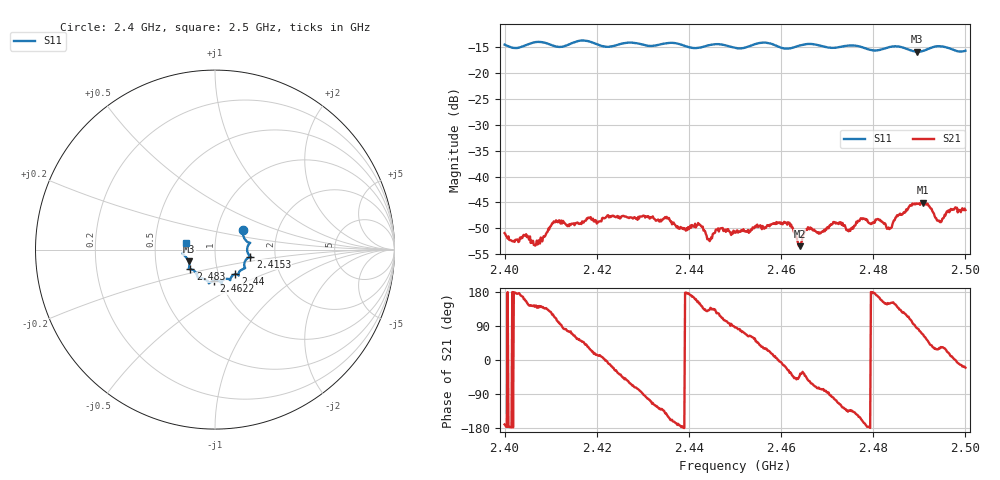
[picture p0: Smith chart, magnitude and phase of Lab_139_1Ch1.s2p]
# Hz S RI R 50
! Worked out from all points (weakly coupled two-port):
!   601 points, 2.4 GHz to 2.5 GHz, reference 50 ohm
!   highest |S21| = -45.03 dB at 2.4908 GHz (marker M1); lowest = -53.5 dB at 2.464 GHz (marker M2)
!   lowest |S11| = -15.9 dB at 2.4895 GHz (marker M3), VSWR 1.38, Z = 37 - j5.01 ohm
!   |S11| at or under -10 dB: start of sweep to end of sweep
!   S12 and S22 are empty: the file has one direction only
!   S11 on the Smith chart (normalised r, x): 2.4 GHz: 1.33, +0.29; 2.4153 GHz: 1.48, -0.12; 2.44 GHz: 1.20, -0.34; 2.4622 GHz: 0.93, -0.33; 2.483 GHz: 0.74, -0.17; 2.5 GHz: 0.72, +0.06
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2.4e9  0.1552 0.1065  -0.0028 -0.000492  0 0  0 0
2.406833e9  0.1959 0.0381  -0.00178 0.00132  0 0  0 0
2.410833e9  0.1815 0.0157  -0.00141 0.00333  0 0  0 0
2.415333e9  0.1964 -0.039  0.00171 0.00308  0 0  0 0
2.416667e9  0.2018 -0.043  0.00222 0.00267  0 0  0 0
2.433333e9  0.1311 -0.1336  -0.00224 -0.00312  0 0  0 0
2.44e9  0.1138 -0.1365  -0.0031 0.00024  0 0  0 0
2.4425e9  0.0922 -0.1506  -0.0028 0.0019  0 0  0 0
2.4445e9  0.0851 -0.166  -0.00161 0.00175  0 0  0 0
2.446333e9  0.0851 -0.1702  -0.00174 0.00264  0 0  0 0
2.45e9  0.0648 -0.1629  0.000202 0.00286  0 0  0 0
2.462167e9  -0.00743 -0.1738  0.00283 -0.00196  0 0  0 0
2.464e9  -0.0271 -0.1825  0.00156 -0.00144  0 0  0 0
2.466667e9  -0.0344 -0.1877  0.00146 -0.00279  0 0  0 0
2.474667e9  -0.0912 -0.1604  -0.00203 -0.00215  0 0  0 0
2.477833e9  -0.0987 -0.1461  -0.00379 -0.0011  0 0  0 0
2.483e9  -0.1376 -0.1092  -0.00262 0.00171  0 0  0 0
2.483333e9  -0.1401 -0.109  -0.00276 0.00165  0 0  0 0
2.4895e9  -0.1463 -0.066  0.000581 0.00546  0 0  0 0
2.490833e9  -0.1568 -0.0477  0.00221 0.00515  0 0  0 0
2.494333e9  -0.1805 -0.0218  0.00318 0.00198  0 0  0 0
2.5e9  -0.1597 0.0391  0.00445 -0.00164  0 0  0 0
